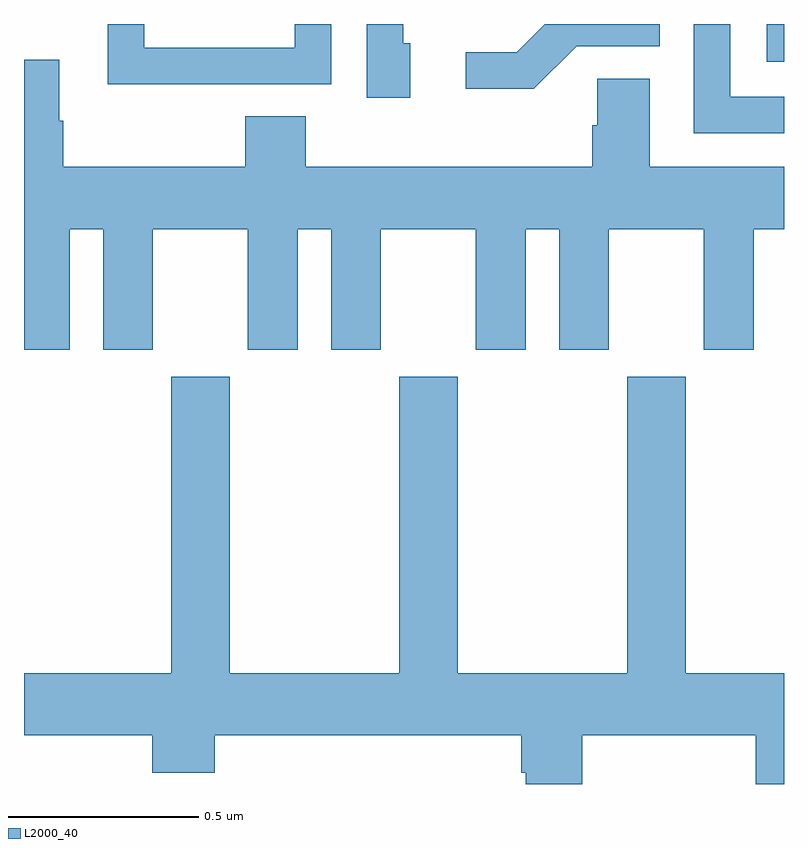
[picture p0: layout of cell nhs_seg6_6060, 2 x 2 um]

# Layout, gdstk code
import gdstk
lib = gdstk.Library(unit=1e-6, precision=1e-09)
def R(c, l, rs):  # rectangles x0, y0, x1, y1
    for r in rs: c.add(gdstk.rectangle(r[:2], r[2:], *l))
def P(c, l, *ps):  # polygons
    for p in ps: c.add(gdstk.Polygon(p, *l))
L2000_40 = (2000, 40)

nhs_seg6_6060 = lib.new_cell('nhs_seg6_6060')
R(nhs_seg6_6060, L2000_40, [(191.955,990.401,192,990.5)])
P(nhs_seg6_6060, L2000_40, [(190.493,990.342),(190.809,990.342),(190.809,990.5),(190.713,990.5),(190.713,990.438),(190.317,990.438),(190.317,990.5),(190.221,990.5),(190.221,990.341),(190.493,990.341)],
  [(191.454,990.441),(191.673,990.441),(191.673,990.5),(191.371,990.5),(191.297,990.426),(191.163,990.426),(191.163,990.329),(191.341,990.329)],
  [(192,990.309),(191.859,990.309),(191.859,990.5),(191.763,990.5),(191.763,990.213),(192,990.213)],
  [(191.017,990.45),(190.998,990.45),(190.998,990.5),(190.902,990.5),(190.902,990.306),(191.017,990.306)],
  [(190.12,989.96),(190.208,989.96),(190.208,989.643),(190.339,989.643),(190.339,989.96),(190.589,989.96),(190.589,989.643),(190.72,989.643),(190.72,989.96),(190.808,989.96),(190.808,989.643),(190.939,989.643),(190.939,989.96),(191.189,989.96),(191.189,989.643),(191.32,989.643),(191.32,989.96),(191.408,989.96),(191.408,989.643),(191.539,989.643),(191.539,989.96),(191.789,989.96),(191.789,989.643),(191.92,989.643),(191.92,989.96),(192,989.96),(192,990.124),(191.647,990.124),(191.647,990.356),(191.508,990.356),(191.508,990.233),(191.495,990.233),(191.495,990.124),(190.742,990.124),(190.742,990.257),(190.582,990.257),(190.582,990.124),(190.103,990.124),(190.103,990.245),(190.093,990.245),(190.093,990.406),(190,990.406),(190,989.643),(190.12,989.643)],
  [(191.469,988.628),(191.926,988.628),(191.926,988.5),(192,988.5),(192,988.792),(191.742,988.792),(191.742,989.572),(191.587,989.572),(191.587,988.792),(191.142,988.792),(191.142,989.572),(190.987,989.572),(190.987,988.792),(190.542,988.792),(190.542,989.572),(190.387,989.572),(190.387,988.792),(190,988.792),(190,988.628),(190.337,988.628),(190.337,988.529),(190.502,988.529),(190.502,988.628),(191.309,988.628),(191.309,988.53),(191.321,988.53),(191.321,988.5),(191.469,988.5)])

lib.write_gds('nhs_seg6_6060.gds')
